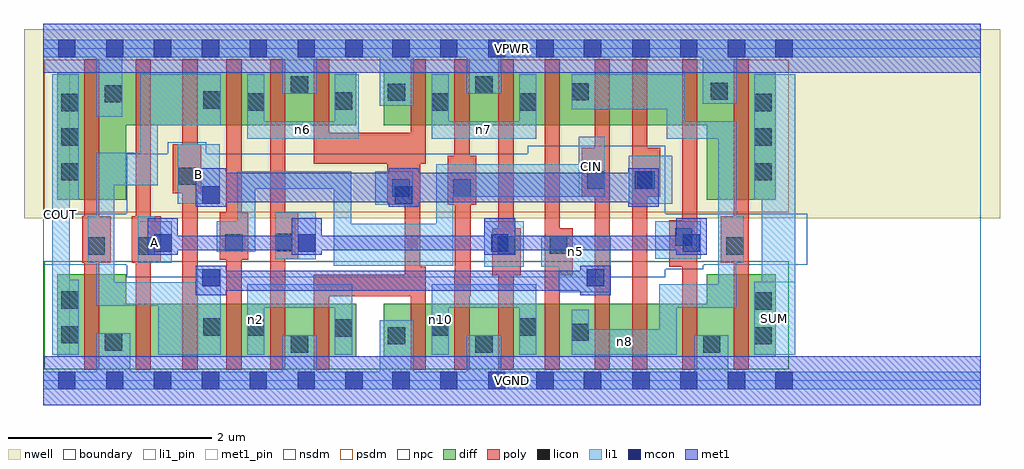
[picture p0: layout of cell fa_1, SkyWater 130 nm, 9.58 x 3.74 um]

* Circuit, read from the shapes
.subckt fa_1 A B CIN COUT SUM VGND VPWR n10 n2 n5 n6 n7 n8
XM1 VGND n5 COUT VSUBS sky130_fd_pr__nfet_01v8 w=0.81 l=0.15
XM2 n1 A VGND VSUBS sky130_fd_pr__nfet_01v8 w=0.52 l=0.15
XM3 n5 B n1 VSUBS sky130_fd_pr__nfet_01v8 w=0.52 l=0.15
XM4 n2 CIN n5 VSUBS sky130_fd_pr__nfet_01v8 w=0.52 l=0.15
XM5 VGND A n2 VSUBS sky130_fd_pr__nfet_01v8 w=0.52 l=0.15
XM6 n2 B VGND VSUBS sky130_fd_pr__nfet_01v8 w=0.52 l=0.15
XM7 n10 B VGND VSUBS sky130_fd_pr__nfet_01v8 w=0.52 l=0.15
XM8 VGND CIN n10 VSUBS sky130_fd_pr__nfet_01v8 w=0.52 l=0.15
XM9 n10 A VGND VSUBS sky130_fd_pr__nfet_01v8 w=0.52 l=0.15
XM10 n8 n5 n10 VSUBS sky130_fd_pr__nfet_01v8 w=0.52 l=0.15
XM11 n3 CIN n8 VSUBS sky130_fd_pr__nfet_01v8 w=0.52 l=0.15
XM12 n4 B n3 VSUBS sky130_fd_pr__nfet_01v8 w=0.52 l=0.15
XM13 VGND A n4 VSUBS sky130_fd_pr__nfet_01v8 w=0.52 l=0.15
XM14 SUM n8 VGND VSUBS sky130_fd_pr__nfet_01v8 w=0.81 l=0.15
XM15 VPWR n5 COUT n9 sky130_fd_pr__pfet_01v8 w=1.25 l=0.15
XM16 n11 A VPWR n9 sky130_fd_pr__pfet_01v8 w=0.52 l=0.15
XM17 n5 B n11 n9 sky130_fd_pr__pfet_01v8 w=0.52 l=0.15
XM18 n6 CIN n5 n9 sky130_fd_pr__pfet_01v8 w=0.52 l=0.15
XM19 VPWR A n6 n9 sky130_fd_pr__pfet_01v8 w=0.52 l=0.15
XM20 n6 B VPWR n9 sky130_fd_pr__pfet_01v8 w=0.52 l=0.15
XM21 n7 B VPWR n9 sky130_fd_pr__pfet_01v8 w=0.52 l=0.15
XM22 VPWR CIN n7 n9 sky130_fd_pr__pfet_01v8 w=0.52 l=0.15
XM23 n7 A VPWR n9 sky130_fd_pr__pfet_01v8 w=0.52 l=0.15
XM24 n8 n5 n7 n9 sky130_fd_pr__pfet_01v8 w=0.52 l=0.15
XM25 n12 CIN n8 n9 sky130_fd_pr__pfet_01v8 w=0.52 l=0.15
XM26 n13 B n12 n9 sky130_fd_pr__pfet_01v8 w=0.52 l=0.15
XM27 VPWR A n13 n9 sky130_fd_pr__pfet_01v8 w=0.52 l=0.15
XM28 SUM n8 VPWR n9 sky130_fd_pr__pfet_01v8 w=1.25 l=0.15
.ends

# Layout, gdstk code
import gdstk
lib = gdstk.Library(unit=1e-6, precision=1e-09)
def R(c, l, rs):  # rectangles x0, y0, x1, y1
    for r in rs: c.add(gdstk.rectangle(r[:2], r[2:], *l))
def A(c, l, x, y, w, h, nx, ny, dx, dy):  # array of equal rectangles
    R(c, l, [(x+i*dx, y+j*dy, x+i*dx+w, y+j*dy+h) for i in range(nx) for j in range(ny)])
nwell = (64, 20)
diff = (65, 20)
poly = (66, 20)
licon = (66, 44)
li1_pin = (67, 16)
li1 = (67, 20)
mcon = (67, 44)
met1_pin = (68, 16)
met1 = (68, 20)
nsdm = (93, 44)
psdm = (94, 20)
npc = (95, 20)
boundary = (235, 4)

fa_1 = lib.new_cell('fa_1')
R(fa_1, nwell, [(-0.19,1.595,9.39,3.45), (0,1.595,9.2,3.45)])
R(fa_1, diff, [(0.135,0.235,3.07,0.755), (0.135,0.235,0.815,1.045), (3.34,0.235,7.19,0.755), (6.51,0.235,7.19,1.045), (0.135,1.775,0.815,3.025), (6.51,1.775,7.19,3.025), (0.135,2.505,3.07,3.025), (3.34,2.505,7.19,3.025)])
A(fa_1, poly, 1.365, 0.105, 0.15, 3.05, 3, 1, 0.43, 0)
R(fa_1, poly, [(0.4,0.105,0.55,3.155), (0.905,0.105,1.055,3.155), (2.655,0.105,2.805,1.04), (3.605,0.105,3.7,3.155), (3.605,0.105,3.755,1.115), (4.035,0.105,4.185,1.04), (4.465,0.105,4.615,3.155), (4.92,0.105,5.07,3.155), (5.41,0.105,5.56,3.155), (5.78,0.105,5.93,3.155), (6.27,0.105,6.42,3.155), (6.775,0.105,6.925,3.155), (2.655,0.83,3.755,1.04), (3.545,0.83,3.7,2.43), (4.04,0.83,4.195,2.205), (4.405,1.035,4.685,1.495), (4.92,1.035,5.195,1.495), (6.145,1.115,6.42,1.575), (0.38,1.155,0.66,1.615), (0.87,1.155,1.15,1.615), (6.65,1.155,6.925,1.615), (1.73,1.185,2.01,1.645), (2.225,1.19,2.5,1.65), (3.375,1.725,3.7,2.43), (3.97,1.725,4.25,2.205), (4.035,1.725,4.185,3.155), (5.285,1.805,5.56,2.285), (5.78,1.805,6.055,2.285), (1.27,1.84,1.55,2.32), (2.655,2.13,3.755,2.43), (2.655,2.13,2.805,3.155), (3.605,2.13,3.755,3.155)])
A(fa_1, licon, 0.175, 1.965, 0.17, 0.17, 1, 3, 0, 0.34)
A(fa_1, licon, 6.98, 1.965, 0.17, 0.17, 1, 3, 0, 0.34)
R(fa_1, licon, [(2.43,0.275,2.6,0.445), (4.24,0.275,4.41,0.445), (6.475,0.275,6.645,0.445), (0.605,0.295,0.775,0.465), (3.38,0.355,3.55,0.525), (6.98,0.355,7.15,0.525), (0.175,0.365,0.345,0.535), (5.185,0.39,5.355,0.56), (2.86,0.43,3.03,0.6), (1.57,0.44,1.74,0.61), (2,0.44,2.17,0.61), (3.81,0.44,3.98,0.61), (4.67,0.44,4.84,0.61), (6.98,0.695,7.15,0.865), (0.175,0.705,0.345,0.875), (0.435,1.235,0.605,1.405), (0.925,1.235,1.095,1.405), (6.705,1.235,6.875,1.405), (4.46,1.245,4.63,1.415), (4.97,1.245,5.14,1.415), (1.785,1.265,1.955,1.435), (2.275,1.27,2.445,1.44), (6.2,1.325,6.37,1.495), (3.425,1.805,3.595,1.975), (4.025,1.805,4.195,1.975), (5.34,1.885,5.51,2.055), (5.83,1.885,6,2.055), (1.325,1.92,1.495,2.09), (2,2.65,2.17,2.82), (3.81,2.65,3.98,2.82), (4.67,2.65,4.84,2.82), (2.86,2.66,3.03,2.83), (1.57,2.67,1.74,2.84), (0.605,2.73,0.775,2.9), (3.38,2.745,3.55,2.915), (5.185,2.75,5.355,2.92), (6.55,2.755,6.72,2.925), (2.43,2.815,2.6,2.985), (4.24,2.815,4.41,2.985)])
R(fa_1, li1_pin, [(0.085,0.255,0.26,3.005), (6.98,0.255,7.38,0.97), (0.925,1.155,1.26,1.565), (1.32,1.735,1.73,2.32), (5.255,1.805,5.51,2.395)])
R(fa_1, li1, [(0,-0.085,9.2,0.085), (0.52,-0.085,0.855,0.465), (2.345,-0.085,2.685,0.445), (3.3,-0.085,3.635,0.59), (4.155,-0.085,4.495,0.445), (6.39,-0.085,6.725,0.445), (0.085,0.255,0.26,3.005), (0.085,0.255,0.345,0.99), (1.13,0.255,1.74,0.965), (1.495,0.255,1.74,1.095), (2,0.255,2.17,0.945), (2.86,0.255,3.03,0.945), (3.81,0.255,3.98,0.945), (4.67,0.255,4.84,0.945), (5.185,0.255,6.215,0.505), (5.185,0.255,5.355,0.695), (6.045,0.255,6.215,0.945), (6.98,0.255,7.38,0.97), (7.05,0.255,7.38,3.005), (2,0.715,3.03,0.945), (3.81,0.715,4.84,0.945), (6.045,0.715,6.8,0.945), (6.625,0.715,6.8,2.545), (0.52,0.735,0.695,2.235), (0.52,0.735,1.74,0.965), (5.06,0.865,5.57,1.415), (4.33,1.115,4.715,1.565), (4.885,1.115,5.57,1.415), (2.85,1.125,4.025,1.54), (2.85,1.125,3.02,2.055), (3.855,1.125,4.025,2.125), (0.435,1.155,0.695,1.615), (0.925,1.155,1.26,1.565), (0.925,1.155,1.1,1.615), (6.625,1.155,6.875,1.615), (2.275,1.19,2.675,1.65), (6.005,1.195,6.455,1.565), (1.7,1.265,2.08,1.565), (1.905,1.265,2.08,2.055), (3.26,1.725,3.625,2.055), (1.32,1.735,1.73,2.32), (5.745,1.735,6.175,2.205), (0.085,1.775,0.345,3.005), (6.98,1.775,7.38,3.005), (3.855,1.805,5.51,2.125), (5.255,1.805,5.51,2.395), (1.905,1.885,3.02,2.055), (0.52,1.915,1.125,2.235), (0.95,1.915,1.125,3.005), (2,2.375,3.095,2.545), (2,2.375,2.17,3.005), (2.86,2.375,3.095,3.005), (3.81,2.375,3.98,3.005), (3.81,2.375,4.84,2.545), (4.67,2.375,4.84,3.005), (6.12,2.375,6.8,2.545), (6.12,2.375,6.295,3.005), (0.95,2.505,1.74,3.005), (0.52,2.59,0.775,3.345), (5.185,2.665,6.295,3.005), (3.3,2.695,3.635,3.345), (6.47,2.715,6.805,3.345), (2.345,2.815,2.685,3.345), (4.155,2.815,4.495,3.345), (0,3.175,9.2,3.345)])
A(fa_1, mcon, 0.145, -0.085, 0.17, 0.17, 7, 2, 0.47, 3.26)
A(fa_1, mcon, 3.425, -0.085, 0.17, 0.17, 3, 2, 0.47, 3.26)
A(fa_1, mcon, 5.78, -0.085, 0.17, 0.17, 3, 2, 0.47, 3.26)
R(fa_1, mcon, [(4.84,-0.085,5.01,0.085), (5.305,-0.085,5.475,0.085), (7.185,-0.085,7.355,0.085), (1.56,0.925,1.73,1.095), (5.335,0.925,5.505,1.095), (1.09,1.265,1.26,1.435), (2.5,1.265,2.67,1.435), (4.395,1.265,4.565,1.435), (6.275,1.265,6.445,1.435), (1.56,1.735,1.73,1.905), (3.45,1.735,3.62,1.905), (5.805,1.885,5.975,2.055), (4.84,3.175,5.01,3.345), (5.305,3.175,5.475,3.345), (7.185,3.175,7.355,3.345)])
R(fa_1, met1_pin, [(0,-0.24,9.2,0.24), (0,3.02,9.2,3.5)])
R(fa_1, met1, [(0,-0.24,9.2,0.24), (1.495,0.835,1.795,1.125), (5.27,0.835,5.57,1.125), (1.495,0.88,5.57,1.08), (1.025,1.235,1.32,1.595), (2.44,1.235,2.735,1.595), (4.33,1.235,4.63,1.595), (6.21,1.235,6.51,1.595), (1.025,1.28,6.51,1.42), (1.495,1.705,1.795,2.085), (3.39,1.705,3.685,2.085), (5.74,1.705,6.04,2.085), (1.495,1.75,6.04,2.04), (0,3.02,9.2,3.5)])
R(fa_1, nsdm, [(0.01,0.11,7.315,1.17)])
R(fa_1, psdm, [(0.01,1.65,7.315,3.15)])
R(fa_1, npc, [(0.82,1.015,6.105,2.225), (1.22,1.015,1.6,2.34), (4.755,1.015,6.105,2.305), (0.82,1.095,6.475,1.635), (0,1.135,7.5,1.635)])
R(fa_1, boundary, [(0,0,9.2,3.26)])
fa_1.add(gdstk.Label('A', (1.092,1.36), layer=67, texttype=5))
fa_1.add(gdstk.Label('B', (1.525,2.027), layer=67, texttype=5))
fa_1.add(gdstk.Label('CIN', (5.382,2.1), layer=67, texttype=5))
fa_1.add(gdstk.Label('COUT', (0.172,1.63), layer=67, texttype=5))
fa_1.add(gdstk.Label('SUM', (7.18,0.612), layer=67, texttype=5))
fa_1.add(gdstk.Label('n2', (2.085,0.6), layer=67, texttype=5))
fa_1.add(gdstk.Label('n10', (3.895,0.6), layer=67, texttype=5))
fa_1.add(gdstk.Label('n5', (5.227,1.265), layer=67, texttype=5))
fa_1.add(gdstk.Label('n6', (2.547,2.46), layer=67, texttype=5))
fa_1.add(gdstk.Label('n7', (4.325,2.46), layer=67, texttype=5))
fa_1.add(gdstk.Label('n8', (5.7,0.38), layer=67, texttype=5))
fa_1.add(gdstk.Label('VPWR', (4.6,3.26), layer=68, texttype=5))
fa_1.add(gdstk.Label('VGND', (4.6,0), layer=68, texttype=5))
fa_1.add(gdstk.Label('A', (1.092,1.36), layer=67, texttype=16))
fa_1.add(gdstk.Label('B', (1.525,2.027), layer=67, texttype=16))
fa_1.add(gdstk.Label('CIN', (5.382,2.1), layer=67, texttype=16))
fa_1.add(gdstk.Label('COUT', (0.172,1.63), layer=67, texttype=16))
fa_1.add(gdstk.Label('SUM', (7.18,0.612), layer=67, texttype=16))
fa_1.add(gdstk.Label('VPWR', (4.6,3.26), layer=68, texttype=16))
fa_1.add(gdstk.Label('VGND', (4.6,0), layer=68, texttype=16))

lib.write_gds('fa_1.gds')
